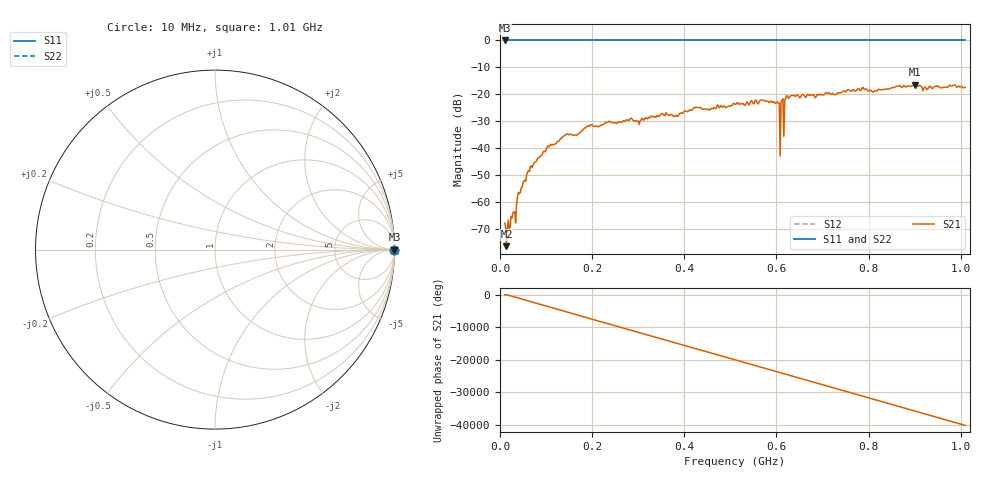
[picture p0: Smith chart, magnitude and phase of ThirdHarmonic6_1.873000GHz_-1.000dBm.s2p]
! 8/16/2025 10:38:23 PM
! C:\ANRITSUVNA\TEMP\TEMP.S2P
! CHANNEL.1
! TR.MEASUREMENT
! RAW.DATA
! RF.CORRECTION.OFF
! AVERAGING.OFF
! IF.BANDWIDTH: 5KHZ
! SWEEPTYPE:  FREQ.SWEEP(Linear)
! Reference Plane Port Info
! PORT:  PORT1  PORT2
! DISTANCE:  0  m  0  m
! TIME:  0  s  0  s
! PHASE.OFFSET:  0  deg.  0  deg.
! LOSS:  0  dB  0  dB
! REF.LOSS:  0  dB  0  dB
! REF.FREQ:  0  Hz  0  Hz
! Power Info
! POWER:  -20  dBm  -20  dBm
! EFF.POWER:  -20  dBm  -20  dBm
! SOURCE.ATTEN:  0  dB  0  dB
! TEST.ATTEN:  0  dB  0  dB
# GHZ S RI R 50.0
! FREQ.GHZ  S11RE  S11IM  S21RE  S21IM  S12RE  S12IM  S22RE  S22IM
!; PortSelection: Port_12
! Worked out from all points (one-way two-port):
!   501 points, 10 MHz to 1.01 GHz, reference 50 ohm
!   highest |S21| = -16.44 dB at 900 MHz (marker M1); lowest = -76.5 dB at 14 MHz (marker M2)
!   lowest |S11| = 0.0 dB at 10 MHz (marker M3)
!   |S11| at or under -10 dB: nowhere
!   |S22| runs from 0.0 to 0.0 dB; largest |S21 - S12| = 1.1
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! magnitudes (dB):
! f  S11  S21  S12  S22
! 10 MHz  0.0  -67.9  0.0  0.0
! 14 MHz  0.0  -76.5  0.0  0.0
! 18 MHz  0.0  -66.8  0.0  0.0
! 32 MHz  0.0  -63.8  0.0  0.0
! 42 MHz  0.0  -57.0  0.0  0.0
! 70 MHz  0.0  -47.2  0.0  0.0
! 106 MHz  0.0  -39.5  0.0  0.0
! 178 MHz  0.0  -33.6  0.0  0.0
! 196 MHz  0.0  -31.4  0.0  0.0
! 344 MHz  0.0  -28.3  0.0  0.0
! 510 MHz  0.0  -23.8  0.0  0.0
! 602 MHz  0.0  -22.8  0.0  0.0
! 604 MHz  0.0  -23.4  0.0  0.0
! 610 MHz  0.0  -22.8  0.0  0.0
! 612 MHz  0.0  -22.3  0.0  0.0
! 614 MHz  0.0  -21.7  0.0  0.0
! 620 MHz  0.0  -21.7  0.0  0.0
! 622 MHz  0.0  -20.5  0.0  0.0
! 678 MHz  0.0  -20.3  0.0  0.0
! 844 MHz  0.0  -18.0  0.0  0.0
! 900 MHz  0.0  -16.4  0.0  0.0
! 1.01 GHz  0.0  -17.4  0.0  0.0
